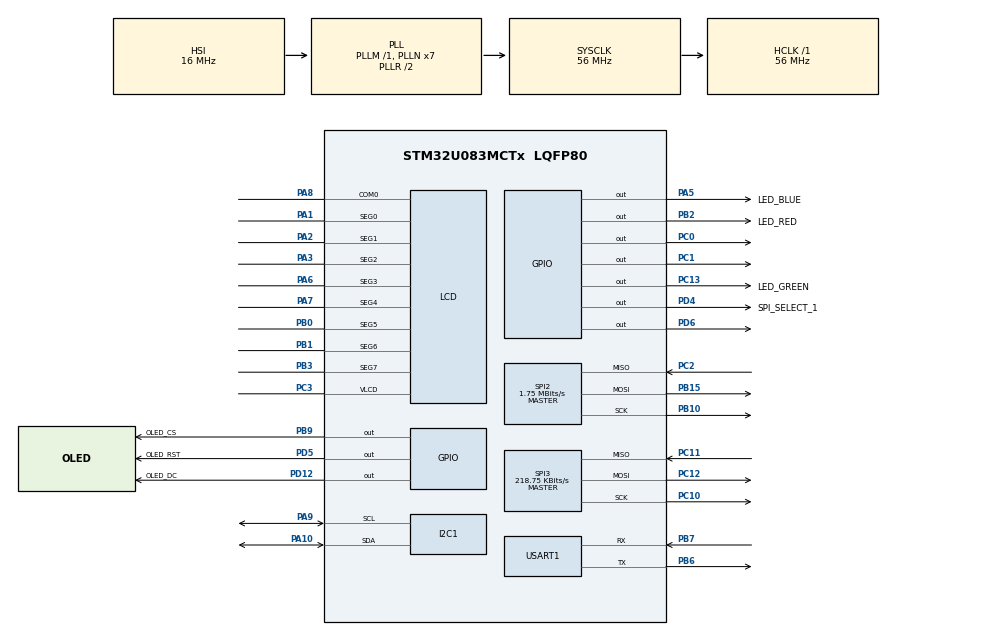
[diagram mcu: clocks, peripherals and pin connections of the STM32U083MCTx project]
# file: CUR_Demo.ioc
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I2C1.Timing=0x10606DA4
Mcu.Family=STM32U0
Mcu.Name=STM32U083MCTx
Mcu.Package=LQFP80
NVIC.PriorityGroup=NVIC_PRIORITYGROUP_2
NVIC.USART1_IRQn=true\:0\:0\:false\:false\:true\:true\:true\:true
PA1.Mode=SEG0
PA1.Signal=LCD_SEG0
PA10.GPIO_Speed=GPIO_SPEED_FREQ_HIGH
PA10.Mode=I2C
PA10.Signal=I2C1_SDA
PA2.Mode=SEG1
PA2.Signal=LCD_SEG1
PA3.Mode=SEG2
PA3.Signal=LCD_SEG2
PA5.GPIO_Label=LED_BLUE
PA5.Signal=GPIO_Output
PA6.Mode=SEG3
PA6.Signal=LCD_SEG3
PA7.Mode=SEG4
PA7.Signal=LCD_SEG4
PA8.Mode=Static
PA8.Signal=LCD_COM0
PA9.GPIO_Speed=GPIO_SPEED_FREQ_HIGH
PA9.Mode=I2C
PA9.Signal=I2C1_SCL
PB0.Mode=SEG5
PB0.Signal=LCD_SEG5
PB1.Mode=SEG6
PB1.Signal=LCD_SEG6
PB10.Mode=Full_Duplex_Master
PB10.Signal=SPI2_SCK
PB15.Mode=Full_Duplex_Master
PB15.Signal=SPI2_MOSI
PB2.GPIO_Label=LED_RED
PB2.Signal=GPIO_Output
PB3.Mode=SEG7
PB3.Signal=LCD_SEG7
PB6.GPIO_Speed=GPIO_SPEED_FREQ_HIGH
PB6.Mode=Asynchronous
PB6.Signal=USART1_TX
PB7.GPIO_Speed=GPIO_SPEED_FREQ_HIGH
PB7.Mode=Asynchronous
PB7.Signal=USART1_RX
PB9.GPIO_Label=OLED_CS
PB9.GPIO_Speed=GPIO_SPEED_FREQ_HIGH
PB9.PinState=GPIO_PIN_SET
PB9.Signal=GPIO_Output
PC0.GPIO_Speed=GPIO_SPEED_FREQ_HIGH
PC0.Signal=GPIO_Output
PC1.GPIO_Speed=GPIO_SPEED_FREQ_HIGH
PC1.Signal=GPIO_Output
PC10.GPIO_Speed=GPIO_SPEED_FREQ_HIGH
PC10.Mode=Full_Duplex_Master
PC10.Signal=SPI3_SCK
PC11.GPIO_Speed=GPIO_SPEED_FREQ_HIGH
PC11.Mode=Full_Duplex_Master
PC11.Signal=SPI3_MISO
PC12.GPIO_Speed=GPIO_SPEED_FREQ_HIGH
PC12.Mode=Full_Duplex_Master
PC12.Signal=SPI3_MOSI
PC13.GPIO_Label=LED_GREEN
PC13.Signal=GPIO_Output
PC2.Mode=Full_Duplex_Master
PC2.Signal=SPI2_MISO
PC3.Mode=Static
PC3.Signal=LCD_VLCD
PD12.GPIO_Label=OLED_DC
PD12.GPIO_Speed=GPIO_SPEED_FREQ_HIGH
PD12.Signal=GPIO_Output
PD4.GPIO_Label=SPI_SELECT_1
PD4.GPIO_Speed=GPIO_SPEED_FREQ_HIGH
PD4.PinState=GPIO_PIN_SET
PD4.Signal=GPIO_Output
PD5.GPIO_Label=OLED_RST
PD5.Signal=GPIO_Output
PD6.GPIO_Speed=GPIO_SPEED_FREQ_HIGH
PD6.Signal=GPIO_Output
ProjectManager.HeapSize=0x200
ProjectManager.StackSize=0x400
ProjectManager.TargetToolchain=STM32CubeIDE
RCC.ADCFreq_Value=56000000
RCC.AHBFreq_Value=56000000
RCC.CortexFreq_Value=56000000
RCC.HCLKFreq_Value=56000000
RCC.HSE_VALUE=4000000
RCC.HSI48_VALUE=48000000
RCC.HSI_VALUE=16000000
RCC.LSE_VALUE=32768
RCC.MSI_VALUE=4000000
RCC.PLLN=7
RCC.SYSCLKFreq_VALUE=56000000
RCC.SYSCLKSource=RCC_SYSCLKSOURCE_PLLCLK
RCC.VCOOutputFreq_Value=112000000
SPI2.BaudRatePrescaler=SPI_BAUDRATEPRESCALER_32
SPI2.CLKPhase=SPI_PHASE_2EDGE
SPI2.CLKPolarity=SPI_POLARITY_HIGH
SPI2.CalculateBaudRate=1.75 MBits/s
SPI2.DataSize=SPI_DATASIZE_8BIT
SPI2.Direction=SPI_DIRECTION_2LINES
SPI2.Mode=SPI_MODE_MASTER
SPI2.VirtualType=VM_MASTER
SPI3.BaudRatePrescaler=SPI_BAUDRATEPRESCALER_256
SPI3.CLKPhase=SPI_PHASE_2EDGE
SPI3.CLKPolarity=SPI_POLARITY_HIGH
SPI3.CalculateBaudRate=218.75 KBits/s
SPI3.DataSize=SPI_DATASIZE_8BIT
SPI3.Direction=SPI_DIRECTION_2LINES
SPI3.FirstBit=SPI_FIRSTBIT_MSB
SPI3.Mode=SPI_MODE_MASTER
SPI3.VirtualType=VM_MASTER
USART1.VirtualMode-Asynchronous=VM_ASYNC
VP_FLASH_SIG_Activate_FlashIP.Mode=Activate_FlashIP
VP_PWR_VS_SECSignals.Mode=Security/Privilege
board=custom

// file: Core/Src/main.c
/* USER CODE BEGIN Header */
/**
  ******************************************************************************
  * @file           : main.c
  * @brief          : Main program body
  ******************************************************************************
  * @attention
  *
  * Copyright (c) 2026 STMicroelectronics.
  * All rights reserved.
  *
  * This software is licensed under terms that can be found in the LICENSE file
  * in the root directory of this software component.
  * If no LICENSE file comes with this software, it is provided AS-IS.
  *
  ******************************************************************************
  */
/* USER CODE END Header */
#include "main.h"

/* USER CODE BEGIN Includes */
#include "diagnostics.h"
#include "ssd1322.h"
#include "nhd_oled.h"
#include "nhd_display.h"
#include "cog_display.h"
#include "C160100DiZ.h"
#include "ad7124.h"
/* USER CODE END Includes */

I2C_HandleTypeDef hi2c1;

LCD_HandleTypeDef hlcd;

SPI_HandleTypeDef hspi2;
SPI_HandleTypeDef hspi3;

UART_HandleTypeDef huart1;

/* USER CODE BEGIN PV */

/**
 * Used to detect tick transitions for the executive loop
 */
uint32_t gSystemTick;
/**
 * Track skipped ticks
 */
uint32_t gSkippedTicks = 0;
/**
 * Used for measuring idle time
 */
uint32_t gIdleTicks 		= 0;
uint32_t gLastIdleTicks 	= 0;
uint32_t gMinIdleTicks 		= !0;
uint32_t gMaxIdleTicks 		= 0;

/**
 * LED Toggle
 */
uint16_t mSecondTimer		= 0;

/* USER CODE END PV */

void SystemClock_Config(void);
static void MX_GPIO_Init(void);
static void MX_FLASH_Init(void);
static void MX_USART1_UART_Init(void);
static void MX_LCD_Init(void);
static void MX_SPI2_Init(void);
static void MX_SPI3_Init(void);
static void MX_I2C1_Init(void);

int main(void)
{

  /* MCU Configuration--------------------------------------------------------*/

  /* Reset of all peripherals, Initializes the Flash interface and the Systick. */
  HAL_Init();

  /* USER CODE BEGIN Init */

  DIAG_Init();

  /* USER CODE END Init */

  /* Configure the system clock */
  SystemClock_Config();

  /* USER CODE BEGIN SysInit */

  if (SysTick_Config(SYS_CLOCK) != HAL_OK )
  {
  	//FaultHandler(ERR_CLK);
  }

  /* USER CODE END SysInit */

  /* Initialize all configured peripherals */
  MX_GPIO_Init();
  MX_FLASH_Init();
  MX_USART1_UART_Init();
  MX_LCD_Init();
  MX_SPI2_Init();
  MX_SPI3_Init();
  MX_I2C1_Init();
  /* USER CODE BEGIN 2 */

  AD7124_Init();

  /* USER CODE END 2 */

  /* Infinite loop */
  while (1)
  {

    /* USER CODE BEGIN 3 */

	//DIAG_Drive();

	//tft_run_tests();
	//oled_run_tests();
	//C160100DiZ_Test();

	//NHD_Test();
	//ChipOnGlassTest2();
	//setup();
	//loop();

	//FlashSpiTest();

	AD7124_Drive();

	gSystemTick = HAL_GetTick();

	// Wait for next tick
	if (gSystemTick != HAL_GetTick())
	{
		// We missed a tick!
		gSkippedTicks += HAL_GetTick() - gSystemTick;
		gIdleTicks = 0;
		gLastIdleTicks = 0;
	}
	else
	{
		// Wait for the next tick, track idle time
		gIdleTicks = 0;
		while(gSystemTick == HAL_GetTick())
		{
			gIdleTicks++;
		}
		gLastIdleTicks = gIdleTicks;

		// Update min/max idle ticks
		if (gLastIdleTicks > gMaxIdleTicks)
			gMaxIdleTicks = gLastIdleTicks;
		else if (gLastIdleTicks < gMinIdleTicks)
			gMinIdleTicks = gLastIdleTicks;
	}

	// Toggle led if we have crossed over a second
	if (mSecondTimer++ > TICKS_PER_SECOND)
	{
		mSecondTimer = 0;
		HAL_GPIO_TogglePin(LED_GREEN_GPIO_Port, LED_GREEN_Pin);
	}

  }
  /* USER CODE END 3 */
}

void SystemClock_Config(void)
{
  RCC_OscInitTypeDef RCC_OscInitStruct = {0};
  RCC_ClkInitTypeDef RCC_ClkInitStruct = {0};

  /** Configure the main internal regulator output voltage
  */
  HAL_PWREx_ControlVoltageScaling(PWR_REGULATOR_VOLTAGE_SCALE1);

  /** Initializes the RCC Oscillators according to the specified parameters
  * in the RCC_OscInitTypeDef structure.
  */
  RCC_OscInitStruct.OscillatorType = RCC_OSCILLATORTYPE_HSI|RCC_OSCILLATORTYPE_LSI;
  RCC_OscInitStruct.HSIState = RCC_HSI_ON;
  RCC_OscInitStruct.HSICalibrationValue = RCC_HSICALIBRATION_DEFAULT;
  RCC_OscInitStruct.LSIState = RCC_LSI_ON;
  RCC_OscInitStruct.PLL.PLLState = RCC_PLL_ON;
  RCC_OscInitStruct.PLL.PLLSource = RCC_PLLSOURCE_HSI;
  RCC_OscInitStruct.PLL.PLLM = RCC_PLLM_DIV1;
  RCC_OscInitStruct.PLL.PLLN = 7;
  RCC_OscInitStruct.PLL.PLLP = RCC_PLLP_DIV2;
  RCC_OscInitStruct.PLL.PLLQ = RCC_PLLQ_DIV2;
  RCC_OscInitStruct.PLL.PLLR = RCC_PLLR_DIV2;
  if (HAL_RCC_OscConfig(&RCC_OscInitStruct) != HAL_OK)
  {
    Error_Handler();
  }

  /** Initializes the CPU, AHB and APB buses clocks
  */
  RCC_ClkInitStruct.ClockType = RCC_CLOCKTYPE_HCLK|RCC_CLOCKTYPE_SYSCLK
                              |RCC_CLOCKTYPE_PCLK1;
  RCC_ClkInitStruct.SYSCLKSource = RCC_SYSCLKSOURCE_PLLCLK;
  RCC_ClkInitStruct.AHBCLKDivider = RCC_SYSCLK_DIV1;
  RCC_ClkInitStruct.APB1CLKDivider = RCC_HCLK_DIV1;

  if (HAL_RCC_ClockConfig(&RCC_ClkInitStruct, FLASH_LATENCY_2) != HAL_OK)
  {
    Error_Handler();
  }
}

static void MX_FLASH_Init(void)
{

  if (HAL_FLASH_Unlock() != HAL_OK)
  {
    Error_Handler();
  }
  if (HAL_FLASH_Lock() != HAL_OK)
  {
    Error_Handler();
  }

}

static void MX_I2C1_Init(void)
{

  hi2c1.Instance = I2C1;
  hi2c1.Init.Timing = 0x10606DA4;
  hi2c1.Init.OwnAddress1 = 0;
  hi2c1.Init.AddressingMode = I2C_ADDRESSINGMODE_7BIT;
  hi2c1.Init.DualAddressMode = I2C_DUALADDRESS_DISABLE;
  hi2c1.Init.OwnAddress2 = 0;
  hi2c1.Init.OwnAddress2Masks = I2C_OA2_NOMASK;
  hi2c1.Init.GeneralCallMode = I2C_GENERALCALL_DISABLE;
  hi2c1.Init.NoStretchMode = I2C_NOSTRETCH_DISABLE;
  if (HAL_I2C_Init(&hi2c1) != HAL_OK)
  {
    Error_Handler();
  }

  /** Configure Analogue filter
  */
  if (HAL_I2CEx_ConfigAnalogFilter(&hi2c1, I2C_ANALOGFILTER_ENABLE) != HAL_OK)
  {
    Error_Handler();
  }

  /** Configure Digital filter
  */
  if (HAL_I2CEx_ConfigDigitalFilter(&hi2c1, 0) != HAL_OK)
  {
    Error_Handler();
  }

}

static void MX_LCD_Init(void)
{

  hlcd.Instance = LCD;
  hlcd.Init.Prescaler = LCD_PRESCALER_1;
  hlcd.Init.Divider = LCD_DIVIDER_16;
  hlcd.Init.Duty = LCD_DUTY_STATIC;
  hlcd.Init.Bias = LCD_BIAS_1_4;
  hlcd.Init.VoltageSource = LCD_VOLTAGESOURCE_INTERNAL;
  hlcd.Init.Contrast = LCD_CONTRASTLEVEL_0;
  hlcd.Init.DeadTime = LCD_DEADTIME_0;
  hlcd.Init.PulseOnDuration = LCD_PULSEONDURATION_0;
  hlcd.Init.BlinkMode = LCD_BLINKMODE_OFF;
  hlcd.Init.BlinkFrequency = LCD_BLINKFREQUENCY_DIV8;
  hlcd.Init.MuxSegment = LCD_MUXSEGMENT_DISABLE;
  if (HAL_LCD_Init(&hlcd) != HAL_OK)
  {
    Error_Handler();
  }

}

static void MX_SPI2_Init(void)
{

  /* SPI2 parameter configuration*/
  hspi2.Instance = SPI2;
  hspi2.Init.Mode = SPI_MODE_MASTER;
  hspi2.Init.Direction = SPI_DIRECTION_2LINES;
  hspi2.Init.DataSize = SPI_DATASIZE_8BIT;
  hspi2.Init.CLKPolarity = SPI_POLARITY_HIGH;
  hspi2.Init.CLKPhase = SPI_PHASE_2EDGE;
  hspi2.Init.NSS = SPI_NSS_SOFT;
  hspi2.Init.BaudRatePrescaler = SPI_BAUDRATEPRESCALER_32;
  hspi2.Init.FirstBit = SPI_FIRSTBIT_MSB;
  hspi2.Init.TIMode = SPI_TIMODE_DISABLE;
  hspi2.Init.CRCCalculation = SPI_CRCCALCULATION_DISABLE;
  hspi2.Init.CRCPolynomial = 7;
  hspi2.Init.CRCLength = SPI_CRC_LENGTH_DATASIZE;
  hspi2.Init.NSSPMode = SPI_NSS_PULSE_DISABLE;
  if (HAL_SPI_Init(&hspi2) != HAL_OK)
  {
    Error_Handler();
  }

}

static void MX_SPI3_Init(void)
{

  /* SPI3 parameter configuration*/
  hspi3.Instance = SPI3;
  hspi3.Init.Mode = SPI_MODE_MASTER;
  hspi3.Init.Direction = SPI_DIRECTION_2LINES;
  hspi3.Init.DataSize = SPI_DATASIZE_8BIT;
  hspi3.Init.CLKPolarity = SPI_POLARITY_HIGH;
  hspi3.Init.CLKPhase = SPI_PHASE_2EDGE;
  hspi3.Init.NSS = SPI_NSS_SOFT;
  hspi3.Init.BaudRatePrescaler = SPI_BAUDRATEPRESCALER_256;
  hspi3.Init.FirstBit = SPI_FIRSTBIT_MSB;
  hspi3.Init.TIMode = SPI_TIMODE_DISABLE;
  hspi3.Init.CRCCalculation = SPI_CRCCALCULATION_DISABLE;
  hspi3.Init.CRCPolynomial = 7;
  hspi3.Init.CRCLength = SPI_CRC_LENGTH_DATASIZE;
  hspi3.Init.NSSPMode = SPI_NSS_PULSE_DISABLE;
  if (HAL_SPI_Init(&hspi3) != HAL_OK)
  {
    Error_Handler();
  }

}

static void MX_USART1_UART_Init(void)
{

  huart1.Instance = USART1;
  huart1.Init.BaudRate = 115200;
  huart1.Init.WordLength = UART_WORDLENGTH_8B;
  huart1.Init.StopBits = UART_STOPBITS_1;
  huart1.Init.Parity = UART_PARITY_NONE;
  huart1.Init.Mode = UART_MODE_TX_RX;
  huart1.Init.HwFlowCtl = UART_HWCONTROL_NONE;
  huart1.Init.OverSampling = UART_OVERSAMPLING_16;
  huart1.Init.OneBitSampling = UART_ONE_BIT_SAMPLE_DISABLE;
  huart1.Init.ClockPrescaler = UART_PRESCALER_DIV1;
  huart1.AdvancedInit.AdvFeatureInit = UART_ADVFEATURE_NO_INIT;
  if (HAL_UART_Init(&huart1) != HAL_OK)
  {
    Error_Handler();
  }
  if (HAL_UARTEx_SetTxFifoThreshold(&huart1, UART_TXFIFO_THRESHOLD_1_8) != HAL_OK)
  {
    Error_Handler();
  }
  if (HAL_UARTEx_SetRxFifoThreshold(&huart1, UART_RXFIFO_THRESHOLD_1_8) != HAL_OK)
  {
    Error_Handler();
  }
  if (HAL_UARTEx_DisableFifoMode(&huart1) != HAL_OK)
  {
    Error_Handler();
  }

}

static void MX_GPIO_Init(void)
{
  GPIO_InitTypeDef GPIO_InitStruct = {0};

  /* GPIO Ports Clock Enable */
  __HAL_RCC_GPIOC_CLK_ENABLE();
  __HAL_RCC_GPIOA_CLK_ENABLE();
  __HAL_RCC_GPIOB_CLK_ENABLE();
  __HAL_RCC_GPIOD_CLK_ENABLE();

  /*Configure GPIO pin Output Level */
  HAL_GPIO_WritePin(GPIOC, LED_GREEN_Pin|GPIO_PIN_0|GPIO_PIN_1, GPIO_PIN_RESET);

  /*Configure GPIO pin Output Level */
  HAL_GPIO_WritePin(LED_BLUE_GPIO_Port, LED_BLUE_Pin, GPIO_PIN_RESET);

  /*Configure GPIO pin Output Level */
  HAL_GPIO_WritePin(LED_RED_GPIO_Port, LED_RED_Pin, GPIO_PIN_RESET);

  /*Configure GPIO pin Output Level */
  HAL_GPIO_WritePin(GPIOD, OLED_DC_Pin|OLED_RST_Pin|GPIO_PIN_6, GPIO_PIN_RESET);

  /*Configure GPIO pin Output Level */
  HAL_GPIO_WritePin(SPI_SELECT_1_GPIO_Port, SPI_SELECT_1_Pin, GPIO_PIN_SET);

  /*Configure GPIO pin Output Level */
  HAL_GPIO_WritePin(OLED_CS_GPIO_Port, OLED_CS_Pin, GPIO_PIN_SET);

  /*Configure GPIO pin : LED_GREEN_Pin */
  GPIO_InitStruct.Pin = LED_GREEN_Pin;
  GPIO_InitStruct.Mode = GPIO_MODE_OUTPUT_PP;
  GPIO_InitStruct.Pull = GPIO_NOPULL;
  GPIO_InitStruct.Speed = GPIO_SPEED_FREQ_LOW;
  HAL_GPIO_Init(LED_GREEN_GPIO_Port, &GPIO_InitStruct);

  /*Configure GPIO pins : PC0 PC1 */
  GPIO_InitStruct.Pin = GPIO_PIN_0|GPIO_PIN_1;
  GPIO_InitStruct.Mode = GPIO_MODE_OUTPUT_PP;
  GPIO_InitStruct.Pull = GPIO_NOPULL;
  GPIO_InitStruct.Speed = GPIO_SPEED_FREQ_HIGH;
  HAL_GPIO_Init(GPIOC, &GPIO_InitStruct);

  /*Configure GPIO pin : LED_BLUE_Pin */
  GPIO_InitStruct.Pin = LED_BLUE_Pin;
  GPIO_InitStruct.Mode = GPIO_MODE_OUTPUT_PP;
  GPIO_InitStruct.Pull = GPIO_NOPULL;
  GPIO_InitStruct.Speed = GPIO_SPEED_FREQ_LOW;
  HAL_GPIO_Init(LED_BLUE_GPIO_Port, &GPIO_InitStruct);

  /*Configure GPIO pin : LED_RED_Pin */
  GPIO_InitStruct.Pin = LED_RED_Pin;
  GPIO_InitStruct.Mode = GPIO_MODE_OUTPUT_PP;
  GPIO_InitStruct.Pull = GPIO_NOPULL;
  GPIO_InitStruct.Speed = GPIO_SPEED_FREQ_LOW;
  HAL_GPIO_Init(LED_RED_GPIO_Port, &GPIO_InitStruct);

  /*Configure GPIO pins : OLED_DC_Pin SPI_SELECT_1_Pin PD6 */
  GPIO_InitStruct.Pin = OLED_DC_Pin|SPI_SELECT_1_Pin|GPIO_PIN_6;
  GPIO_InitStruct.Mode = GPIO_MODE_OUTPUT_PP;
  GPIO_InitStruct.Pull = GPIO_NOPULL;
  GPIO_InitStruct.Speed = GPIO_SPEED_FREQ_HIGH;
  HAL_GPIO_Init(GPIOD, &GPIO_InitStruct);

  /*Configure GPIO pin : OLED_RST_Pin */
  GPIO_InitStruct.Pin = OLED_RST_Pin;
  GPIO_InitStruct.Mode = GPIO_MODE_OUTPUT_PP;
  GPIO_InitStruct.Pull = GPIO_NOPULL;
  GPIO_InitStruct.Speed = GPIO_SPEED_FREQ_LOW;
  HAL_GPIO_Init(OLED_RST_GPIO_Port, &GPIO_InitStruct);

  /*Configure GPIO pin : OLED_CS_Pin */
  GPIO_InitStruct.Pin = OLED_CS_Pin;
  GPIO_InitStruct.Mode = GPIO_MODE_OUTPUT_PP;
  GPIO_InitStruct.Pull = GPIO_NOPULL;
  GPIO_InitStruct.Speed = GPIO_SPEED_FREQ_HIGH;
  HAL_GPIO_Init(OLED_CS_GPIO_Port, &GPIO_InitStruct);

}

void Error_Handler(void)
{
  __disable_irq();
  while (1)
  {
  }
}
